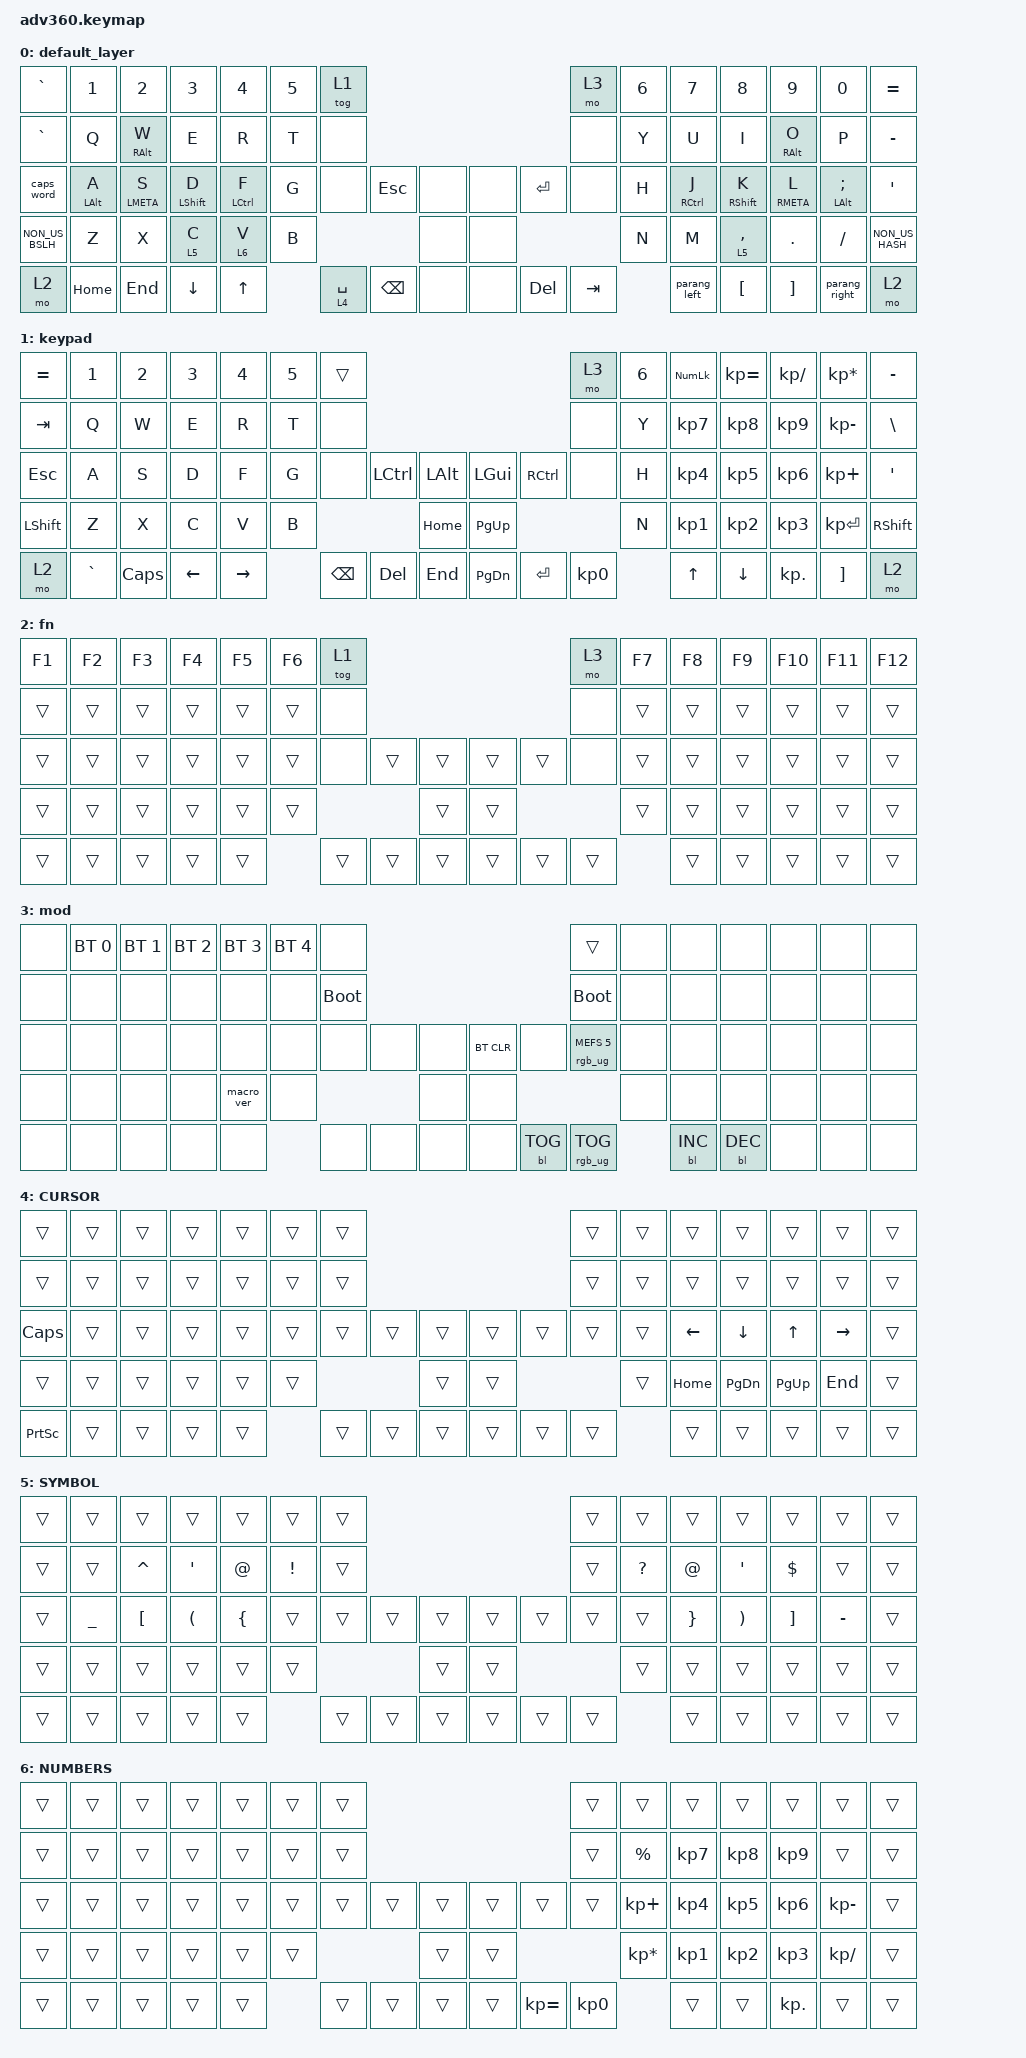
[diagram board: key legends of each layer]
#include <behaviors.dtsi>
#include <dt-bindings/zmk/backlight.h>
#include <dt-bindings/zmk/bt.h>
#include <dt-bindings/zmk/keys.h>
#include <dt-bindings/zmk/rgb.h>

/ {
    behaviors {
        #include "macros.dtsi"
      #include "version.dtsi"
      #ifndef VERSION_MACRO

        macro_ver: macro_ver {
            compatible = "zmk,behavior-macro";
            label = "macro_version";
            #binding-cells = <0>;
            bindings = <&kp RET>;
        };

        #endif

        hm: homerow_mods {
            compatible = "zmk,behavior-hold-tap";
            label = "HOMEROW_MODS";
            #binding-cells = <2>;
            tapping-term-ms = <200>;
            quick_tap_ms = <175>;
            flavor = "tap-preferred";
            bindings = <&kp>, <&kp>;
        };

        hmsft: homerow_mods_shift {
            compatible = "zmk,behavior-hold-tap";
            label = "HOMEROW_MODS_SHIFT";
            #binding-cells = <2>;
            tapping-term-ms = <160>; //Orig 200
            quick_tap_ms = <150>; // Orig: 175
            flavor = "tap-preferred";
            bindings = <&kp>, <&kp>;
        };

        //
        // Thumb cluster hold-tap keys for Miryoku layers
        //

        thumb: thumb_layer_access {
            compatible = "zmk,behavior-hold-tap";
            flavor = "balanced";
            tapping-term-ms = <200>;
            quick-tap-ms = <175>; // enable repeat
            #binding-cells = <2>;
            bindings = <&mo>, <&kp>;
        };

        space: thumb_layer_access_spacebar {
            compatible = "zmk,behavior-hold-tap";
            flavor = "balanced";
            tapping-term-ms = <200>;
            quick-tap-ms = <175>; // enable repeat
            #binding-cells = <2>;
            bindings = <&mo>, <&kp>;
        };

        //
        // Shift + LEFT_PARENTHESIS = LESS_THAN
        //

        parang_left: left_parenthesis_and_less_than {
            compatible = "zmk,behavior-mod-morph";
            #binding-cells = <0>;
            bindings = <&kp LPAR>, <&kp LT>;

            mods = <(MOD_LSFT|MOD_RSFT)>;
        };

        //
        // Shift + RIGHT_PARENTHESIS = GREATER_THAN
        //

        parang_right: right_parenthesis_and_greater_than {
            compatible = "zmk,behavior-mod-morph";
            #binding-cells = <0>;
            bindings = <&kp RPAR>, <&kp GT>;

            mods = <(MOD_LSFT|MOD_RSFT)>;
        };
    };

    macros {
    };

    keymap {
        compatible = "zmk,keymap";

        default_layer {
            bindings = <
&kp GRAVE        &kp N1          &kp N2           &kp N3          &kp N4        &kp N5  &tog 1                                                       &mo 3    &kp N6  &kp N7        &kp N8            &kp N9             &kp N0             &kp EQUAL
&kp GRAVE        &kp Q           &hm RIGHT_ALT W  &kp E           &kp R         &kp T   &none                                                        &none    &kp Y   &kp U         &kp I             &hm RIGHT_ALT O    &kp P              &kp MINUS
&caps_word       &hm LEFT_ALT A  &hm LMETA S      &hmsft LSHFT D  &hm LCTRL F   &kp G   &none           &kp ESCAPE     &none      &none  &kp ENTER   &none    &kp H   &hm RCTRL J   &hmsft RSHFT K    &hm RMETA L        &hm LEFT_ALT SEMI  &kp SQT
&kp NON_US_BSLH  &kp Z           &kp X            &lt 5 C         &lt 6 V       &kp B                                  &none      &none                       &kp N   &kp M         &lt 5 COMMA       &kp PERIOD         &kp FSLH           &kp NON_US_HASH
&mo 2            &kp HOME        &kp END          &kp DOWN        &kp UP_ARROW          &space 4 SPACE  &kp BACKSPACE  &none      &none  &kp DELETE  &kp TAB          &parang_left  &kp LEFT_BRACKET  &kp RIGHT_BRACKET  &parang_right      &mo 2
            >;
        };

        keypad {
            bindings = <
&kp EQUAL  &kp N1     &kp N2    &kp N3    &kp N4     &kp N5  &trans                                                   &mo 3      &kp N6  &kp KP_NUM  &kp KP_EQUAL  &kp KP_DIVIDE  &kp KP_MULTIPLY  &kp MINUS
&kp TAB    &kp Q      &kp W     &kp E     &kp R      &kp T   &none                                                    &none      &kp Y   &kp KP_N7   &kp KP_N8     &kp KP_N9      &kp KP_MINUS     &kp BSLH
&kp ESC    &kp A      &kp S     &kp D     &kp F      &kp G   &none     &kp LCTRL  &kp LALT      &kp LGUI   &kp RCTRL  &none      &kp H   &kp KP_N4   &kp KP_N5     &kp KP_N6      &kp KP_PLUS      &kp SQT
&kp LSHFT  &kp Z      &kp X     &kp C     &kp V      &kp B                        &kp HOME      &kp PG_UP                        &kp N   &kp KP_N1   &kp KP_N2     &kp KP_N3      &kp KP_ENTER     &kp RSHFT
&mo 2      &kp GRAVE  &kp CAPS  &kp LEFT  &kp RIGHT          &kp BSPC  &kp DEL    &kp END       &kp PG_DN  &kp ENTER  &kp KP_N0          &kp UP      &kp DOWN      &kp KP_DOT     &kp RBKT         &mo 2
            >;
        };

        fn {
            bindings = <
&kp F1  &kp F2  &kp F3  &kp F4  &kp F5  &kp F6  &tog 1                                      &mo 3   &kp F7  &kp F8  &kp F9  &kp F10  &kp F11  &kp F12
&trans  &trans  &trans  &trans  &trans  &trans  &none                                       &none   &trans  &trans  &trans  &trans   &trans   &trans
&trans  &trans  &trans  &trans  &trans  &trans  &none   &trans  &trans      &trans  &trans  &none   &trans  &trans  &trans  &trans   &trans   &trans
&trans  &trans  &trans  &trans  &trans  &trans                  &trans      &trans                  &trans  &trans  &trans  &trans   &trans   &trans
&trans  &trans  &trans  &trans  &trans          &trans  &trans  &trans      &trans  &trans  &trans          &trans  &trans  &trans   &trans   &trans
            >;
        };

        mod {
            bindings = <
&none  &bt BT_SEL 0  &bt BT_SEL 1  &bt BT_SEL 2  &bt BT_SEL 3  &bt BT_SEL 4  &none                                                  &trans                  &none  &none       &none       &none  &none  &none
&none  &none         &none         &none         &none         &none         &bootloader                                            &bootloader             &none  &none       &none       &none  &none  &none
&none  &none         &none         &none         &none         &none         &none        &none  &none      &bt BT_CLR  &none       &rgb_ug RGB_MEFS_CMD 5  &none  &none       &none       &none  &none  &none
&none  &none         &none         &none         &macro_ver    &none                             &none      &none                                           &none  &none       &none       &none  &none  &none
&none  &none         &none         &none         &none                       &none        &none  &none      &none       &bl BL_TOG  &rgb_ug RGB_TOG                &bl BL_INC  &bl BL_DEC  &none  &none  &none
            >;
        };

        CURSOR {
            bindings = <
&trans           &trans  &trans  &trans  &trans  &trans  &trans                                      &trans  &trans  &trans    &trans         &trans        &trans     &trans
&trans           &trans  &trans  &trans  &trans  &trans  &trans                                      &trans  &trans  &trans    &trans         &trans        &trans     &trans
&kp CAPS         &trans  &trans  &trans  &trans  &trans  &trans  &trans  &trans      &trans  &trans  &trans  &trans  &kp LEFT  &kp DOWN       &kp UP_ARROW  &kp RIGHT  &trans
&trans           &trans  &trans  &trans  &trans  &trans                  &trans      &trans                  &trans  &kp HOME  &kp PAGE_DOWN  &kp PAGE_UP   &kp END    &trans
&kp PRINTSCREEN  &trans  &trans  &trans  &trans          &trans  &trans  &trans      &trans  &trans  &trans          &trans    &trans         &trans        &trans     &trans
            >;
        };

        SYMBOL {
            bindings = <
&trans  &trans     &trans            &trans                &trans          &trans    &trans                                      &trans  &trans        &trans           &trans                 &trans             &trans     &trans
&trans  &trans     &kp CARET         &kp SQT               &kp AT          &kp EXCL  &trans                                      &trans  &kp QUESTION  &kp AT           &kp SQT                &kp DOLLAR         &trans     &trans
&trans  &kp UNDER  &kp LEFT_BRACKET  &kp LEFT_PARENTHESIS  &kp LEFT_BRACE  &trans    &trans  &trans  &trans      &trans  &trans  &trans  &trans        &kp RIGHT_BRACE  &kp RIGHT_PARENTHESIS  &kp RIGHT_BRACKET  &kp MINUS  &trans
&trans  &trans     &trans            &trans                &trans          &trans                    &trans      &trans                  &trans        &trans           &trans                 &trans             &trans     &trans
&trans  &trans     &trans            &trans                &trans                    &trans  &trans  &trans      &trans  &trans  &trans                &trans           &trans                 &trans             &trans     &trans
            >;
        };

        NUMBERS {
            bindings = <
&trans  &trans  &trans  &trans  &trans  &trans  &trans                                            &trans           &trans           &trans           &trans           &trans           &trans           &trans
&trans  &trans  &trans  &trans  &trans  &trans  &trans                                            &trans           &kp PERCENT      &kp KP_NUMBER_7  &kp KP_NUMBER_8  &kp KP_NUMBER_9  &trans           &trans
&trans  &trans  &trans  &trans  &trans  &trans  &trans  &trans  &trans      &trans  &trans        &trans           &kp KP_PLUS      &kp KP_NUMBER_4  &kp KP_NUMBER_5  &kp KP_NUMBER_6  &kp KP_SUBTRACT  &trans
&trans  &trans  &trans  &trans  &trans  &trans                  &trans      &trans                                 &kp KP_ASTERISK  &kp KP_NUMBER_1  &kp KP_NUMBER_2  &kp KP_NUMBER_3  &kp KP_DIVIDE    &trans
&trans  &trans  &trans  &trans  &trans          &trans  &trans  &trans      &trans  &kp KP_EQUAL  &kp KP_NUMBER_0                   &trans           &trans           &kp KP_DOT       &trans           &trans
            >;
        };
    };
};
